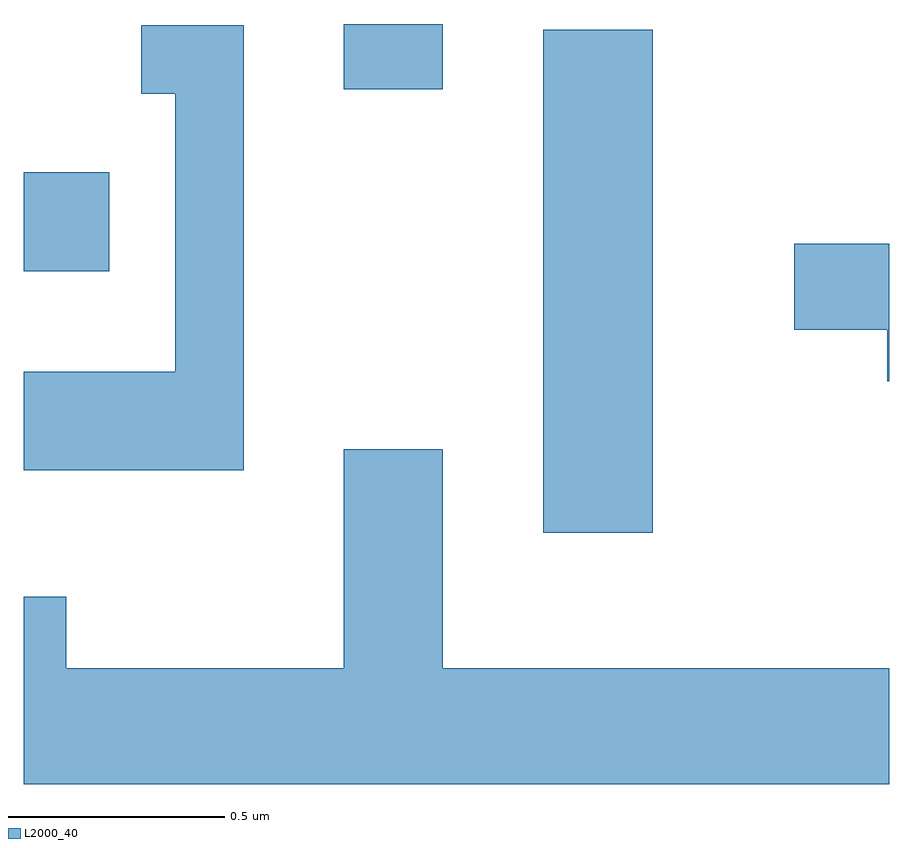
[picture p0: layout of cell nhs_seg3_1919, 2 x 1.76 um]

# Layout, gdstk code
import gdstk
lib = gdstk.Library(unit=1e-6, precision=1e-09)
def R(c, l, rs):  # rectangles x0, y0, x1, y1
    for r in rs: c.add(gdstk.rectangle(r[:2], r[2:], *l))
def P(c, l, *ps):  # polygons
    for p in ps: c.add(gdstk.Polygon(p, *l))
L2000_40 = (2000, 40)

nhs_seg3_1919 = lib.new_cell('nhs_seg3_1919')
R(nhs_seg3_1919, L2000_40, [(200.811,1117.716,201.064,1118.879), (199.611,1118.321,199.809,1118.549), (200.351,1118.741,200.579,1118.892)])
P(nhs_seg3_1919, L2000_40, [(200.119,1118.889),(199.883,1118.889),(199.883,1118.731),(199.961,1118.731),(199.961,1118.089),(199.611,1118.089),(199.611,1117.861),(200.119,1117.861)],
  [(201.611,1118.384),(201.391,1118.384),(201.391,1118.186),(201.606,1118.186),(201.606,1118.066),(201.611,1118.066)],
  [(201.611,1117.404),(200.579,1117.404),(200.579,1117.909),(200.351,1117.909),(200.351,1117.404),(199.709,1117.404),(199.709,1117.569),(199.611,1117.569),(199.611,1117.136),(201.611,1117.136)])

lib.write_gds('nhs_seg3_1919.gds')
